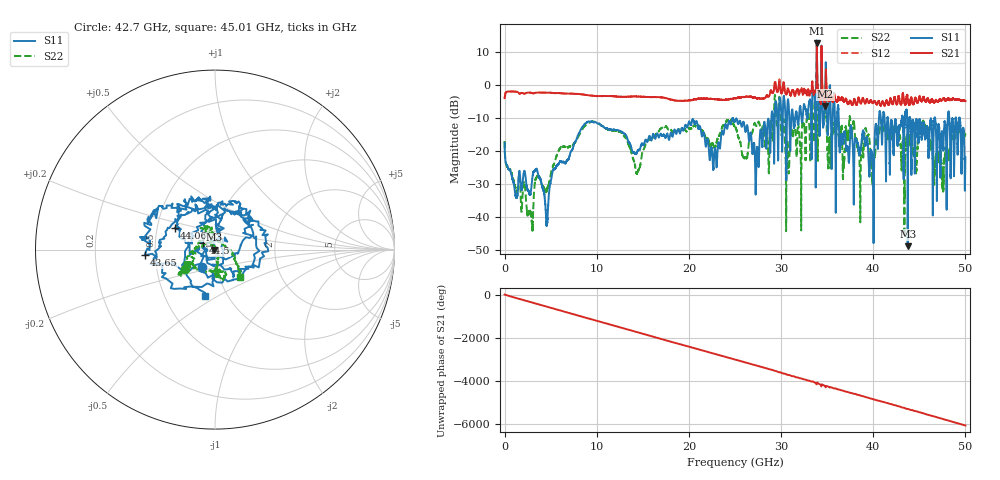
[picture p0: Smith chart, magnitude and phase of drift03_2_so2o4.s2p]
!Created with skrf (http://scikit-rf.org).
# Hz S RI R 50.0
!freq ReS11 ImS11 ReS21 ImS21 ReS12 ImS12 ReS22 ImS22
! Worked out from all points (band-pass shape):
!   10001 points, 300 kHz to 50 GHz, reference 50 ohm
!   highest |S21| = 12.57 dB at 33.88 GHz (marker M1); lowest = -6.4 dB at 34.79 GHz (marker M2)
!   |S21| within 3 dB of the highest: 33.86921 GHz to 33.89305 GHz (23.84 MHz wide, 0.0704 % of centre); 34.3765 GHz to 34.39418 GHz (17.68 MHz wide, 0.0514 % of centre)
!   lowest |S11| = -48.8 dB at 43.74 GHz (marker M3), VSWR 1.01, Z = 49.6 + j0.00785 ohm
!   |S11| at or under -10 dB: start of sweep to 28.94 GHz; 36.25 GHz to 40.62 GHz (4.367 GHz wide, 11.4 % of centre); 43.98 GHz to 46.66 GHz (2.688 GHz wide, 5.93 % of centre) (the widest 3 of 41)
!   |S22| runs from -45.9 to 8.9 dB; largest |S21 - S12| = 0.69
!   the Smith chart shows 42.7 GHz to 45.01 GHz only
!   S11 on the Smith chart (normalised r, x): 42.7 GHz: 0.85, -0.17; 43.65 GHz: 0.44, -0.03; 44.06 GHz: 0.62, +0.16; 44.5 GHz: 0.87, +0.06; 45.01 GHz: 0.78, -0.44
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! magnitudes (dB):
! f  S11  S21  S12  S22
! 300 kHz  -17.5  -4.0  -4.0  -17.0
! 2.85 GHz  -32.4  -2.4  -2.4  -38.3
! 4.585 GHz  -41.8  -2.3  -2.3  -31.8
! 8.335 GHz  -13.1  -2.8  -2.8  -13.9
! 14.43 GHz  -20.0  -3.5  -3.5  -26.5
! 16.67 GHz  -15.5  -3.7  -3.7  -14.3
! 25 GHz  -11.0  -4.0  -4.0  -12.6
! 27.39 GHz  -19.1  -4.1  -4.1  -12.3
! 29.6 GHz  -10.4  -2.1  -2.1  -11.8
! 30.7 GHz  -5.8  -1.5  -1.6  -17.4
! 33.34 GHz  -13.7  -0.8  -0.9  -7.9
! 33.88 GHz  13.4  12.6  12.2  8.9
! 34.79 GHz  -3.3  -6.4  -5.0  -8.5
! 39.82 GHz  -20.1  -5.0  -5.0  -24.3
! 41.67 GHz  -12.7  -6.1  -6.0  -15.4
! 42.7 GHz  -18.3  -4.3  -4.2  -14.0
! 43.65 GHz  -8.1  -3.4  -3.4  -15.6
! 43.74 GHz  -48.8  -4.0  -4.1  -17.8
! 44.06 GHz  -11.9  -4.7  -4.5  -14.9
! 44.5 GHz  -22.4  -4.5  -4.5  -20.5
! 45.01 GHz  -11.5  -3.5  -3.4  -13.6
! 50 GHz  -21.9  -4.9  -4.9  -14.9
